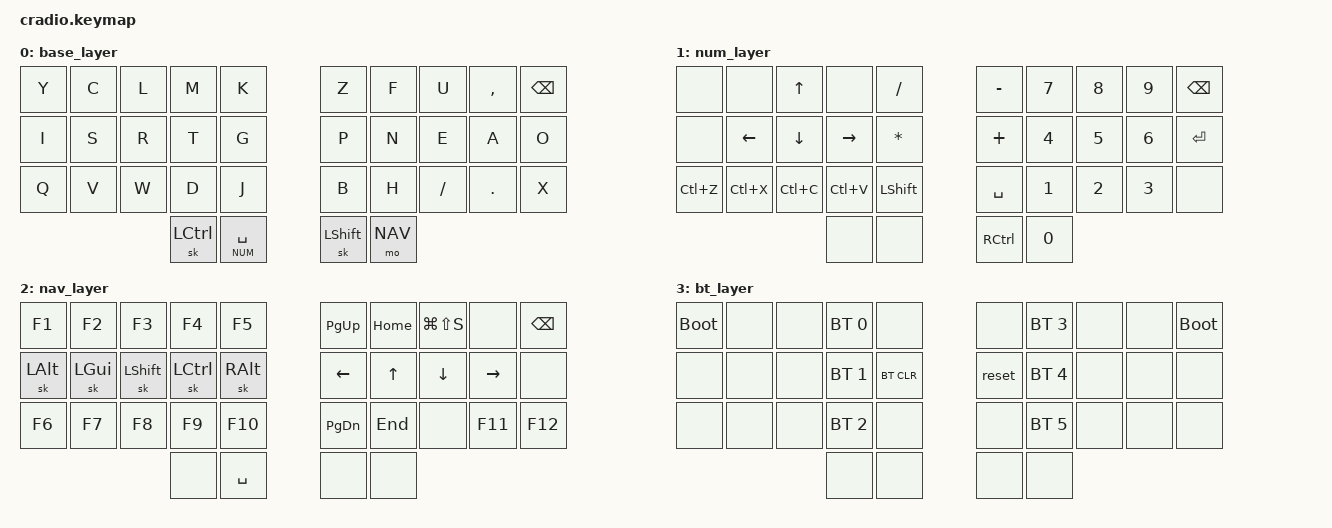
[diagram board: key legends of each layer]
/*
 * Copyright (c) 2020 The ZMK Contributors
 *
 * SPDX-License-Identifier: MIT
 */

#include <behaviors.dtsi>
#include <dt-bindings/zmk/keys.h>
#include <dt-bindings/zmk/bt.h>


// Layer definitions
    #define BASE 0
    #define NUM 1
    #define NAV 2
    #define BT 3


&mt {
    flavor = "tap-preferred";
    tapping_term_ms = <200>;
};

/ {
	combos {
        	compatible = "zmk,combos";
        	combo_esc {
            		timeout-ms = <50>;
            		key-positions = <0 1>;
           		bindings = <&kp ESC>;
      		};
        	
		combo_at {
			timeout-ms = <50>;
			key-positions = <1 2>;
			bindings = <&kp AT>;
		};
		
		combo_hash {
			timeout-ms = <50>;
			key-positions = <2 3>;
			bindings = <&kp HASH>;
		};
		
		combo_dollar {
			timeout-ms = <50>;
			key-positions = <3 4>;
			bindings = <&kp DLLR>;
		};
		
		combo_percent {
			timeout-ms = <50>;
			key-positions = <5 6>;
			bindings = <&kp PRCNT>;
		};
		
		combo_caret {
			timeout-ms = <50>;
			key-positions = <6 7>;
			bindings = <&kp CARET>;
		};
		
		combo_amps {
			timeout-ms = <50>;
			key-positions = <7 8>;
			bindings = <&kp AMPS>;
		};
		
		combo_star {
			timeout-ms = <50>;
			key-positions = <8 9>;
			bindings = <&kp STAR>;
		};
		
         	combo_tab {
           		timeout-ms = <50>;
            		key-positions = <10 11>;
            		bindings = <&kp TAB>;
		};
		
		combo_lessThan {
			timeout-ms = <50>;
			key-positions = <13 14>;
			bindings = <&kp LT>;
		};
		
		combo_greaterThan {
			timeout-ms = <50>;
			key-positions = <15 16>;
			bindings = <&kp GT>;
		};
		
		combo_del {
			timeout-ms = <50>;
			key-positions = <28 29>;
			bindings = <&kp DEL>;
		};
		
		combo_minus {
			timeout-ms = <50>;
			key-positions = <13 23>;
			bindings = <&kp MINUS>;
		};
		
		combo_under {
			timeout-ms = <50>;
			key-positions = <21 22>;
			bindings = <&kp UNDER>;
		};
		
		combo_bang {
			timeout-ms = <50>;
			key-positions = <0 10>;
			bindings = <&kp EXCL>;
		};
		
		combo_lpar {
			timeout-ms = <50>;
			key-positions = <2 12>;
			bindings = <&kp LPAR>;
		};
		
		combo_lbrc {
			timeout-ms = <50>;
			key-positions = <3 13>;
			bindings = <&kp LBRC>;
		};
		
		combo_lbkt {
			timeout-ms = <50>;
			key-positions = <4 14>;
			bindings = <&kp LBKT>;
		};
		
		combo_rbkt {
			timeout-ms = <50>;
			key-positions = <5 15>;
			bindings = <&kp RBKT>;
		};
		
		combo_rbrc {
			timeout-ms = <50>;
			key-positions = <6 16>;
			bindings = <&kp RBRC>;
		};
		
		combo_rpar {
			timeout-ms = <50>;
			key-positions = <7 17>;
			bindings = <&kp RPAR>;
		};
		
		combo_semi {
			timeout-ms = <50>;
			key-positions = <16 26>;
			bindings = <&kp SEMI>;
		};
		
		combo_bslash {
			timeout-ms = <50>;
			key-positions = <10 20>;
			bindings = <&kp BSLH>;
		};
		
		combo_equal {
			timeout-ms = <50>;
			key-positions = <15 25>;
			bindings = <&kp EQUAL>;
		};
		
		combo_plus {
			timeout-ms = <50>;
			key-positions = <14 24>;
			bindings = <&kp PLUS>;
		};
		
		combo_colon {
			timeout-ms = <50>;
			key-positions = <17 27>;
			bindings = <&kp COLON>;
		};
		
		combo_sqt {
			timeout-ms = <50>;
			key-positions = <25 26>;
			bindings = <&kp SQT>;
		};
		
		combo_dqt {
			timeout-ms = <50>;
			key-positions = <23 24>;
			bindings = <&kp DQT>;
		};
		
		combo_grave {
			timeout-ms = <50>;
			key-positions = <19 29>;
			bindings = <&kp GRAVE>;
		};
		
		combo_ret {
            		timeout-ms = <50>;
            		key-positions = <16 17>;
           		bindings = <&kp ENTER>;
		};
		combo_bt {
			timeout-ms = <50>;
			key-positions = <30 31>;
			bindings = <&mo BT>;
		};
		combo_cw {
			timeout-ms = <50>;
			key-positions = <1 11>;
			bindings = <&caps_word>;
		};
		combo_num1 {
			timeout-ms = <50>;
			key-positions = <25 32>;
			bindings = <&tog NUM>;
		};
		
		combo_lgui {
			timeout-ms = <50>;
			key-positions = <11 12 13>;
			bindings = <&kp LGUI>;
		};
		
		combo_lalt {
			timeout-ms = <50>;
			key-positions = <10 11 12>;
			bindings = <&sk LALT>;
		};
		
		combo_rgui {
			timeout-ms = <50>;
			key-positions = <16 17 18>;
			bindings = <&kp RGUI>;
		};
		
		combo_ralt {
			timeout-ms = <50>;
			key-positions = <17 18 19>;
			bindings = <&sk RALT>;
		};
		
	};

        keymap {
                compatible = "zmk,keymap";
                
       		base_layer {
		    bindings = <
		        &kp Y 	&kp C 	&kp L 	&kp M 	&kp K		&kp Z 	&kp F 	&kp U 	&kp COMMA &kp BKSP
			&kp I 	&kp S 	&kp R 	&kp T 	&kp G		&kp P 	&kp N 	&kp E 	&kp A 	&kp O
			&kp Q 	&kp V 	&kp W 	&kp D 	&kp J		&kp B 	&kp H 	&kp SLASH &kp DOT &kp X
			                  &sk LCTRL &lt NUM SPACE	&sk LSHIFT &mo NAV 
		    >;
		};

       		num_layer {
		    bindings = <
			&none 	&none 	&kp UP 	&none 	&kp FSLH		&kp MINUS &kp N7 &kp N8 &kp N9	&kp BKSP
			&none 	&kp LEFT &kp DOWN &kp RIGHT &kp STAR		&kp PLUS  &kp N4 &kp N5	&kp N6	&kp RET
			&kp LC(Z) &kp LC(X) &kp LC(C) &kp LC(V) &kp LSHFT	&kp SPACE &kp N1 &kp N2 &kp N3	&none
						&none	&none			&kp RCTRL &kp N0
		    >;
		};
		
		nav_layer {
		    bindings = <
			&kp F1 &kp F2 &kp F3 &kp F4 &kp F5		&kp PG_UP &kp HOME &kp LG(LS(S)) &none &kp BKSP
			&sk LALT &sk LGUI &sk LSHFT &sk LCTRL &sk RALT	&kp LEFT &kp UP &kp DOWN &kp RIGHT &none
			&kp F6 &kp F7 &kp F8 &kp F9 &kp F10		&kp PG_DN &kp END &none &kp F11 &kp F12
						&none &kp SPACE		&none &none
		    >;
		};
		
		bt_layer {
		    bindings = <
			&bootloader &none &none &bt BT_SEL 0 &none	&none &bt BT_SEL 3 &none &none &bootloader
			&none &none &none &bt BT_SEL 1 &bt BT_CLR	&reset &bt BT_SEL 4 &none &none &none
			&none &none &none &bt BT_SEL 2 &none		&none &bt BT_SEL 5 &none &none &none
						&none &none		&none &none
		    >;
		};

	};
};
